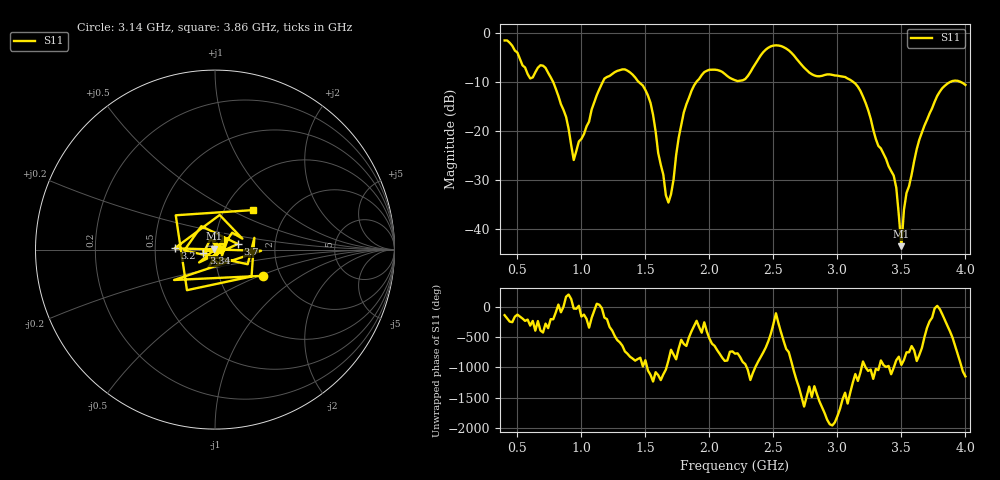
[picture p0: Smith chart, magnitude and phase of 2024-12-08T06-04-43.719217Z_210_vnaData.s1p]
!Created with skrf (http://scikit-rf.org).
# Hz S RI R 50.0
!freq ReS11 ImS11
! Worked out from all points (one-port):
!   181 points, 400 MHz to 4 GHz, reference 50 ohm
!   lowest |S11| = -43.4 dB at 3.5 GHz (marker M1), VSWR 1.01, Z = 49.6 + j0.57 ohm
!   |S11| at or under -10 dB: 779.8 MHz to 1.166 GHz (386.7 MHz wide, 39.7 % of centre); 1.449 GHz to 1.897 GHz (448 MHz wide, 26.8 % of centre); 3.125 GHz to 3.879 GHz (753.9 MHz wide, 21.5 % of centre) (the widest 3 of 4)
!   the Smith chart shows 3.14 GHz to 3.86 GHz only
!   S11 on the Smith chart (normalised r, x): 3.14 GHz: 1.63, -0.52; 3.2 GHz: 0.63, +0.01; 3.34 GHz: 0.88, -0.03; 3.7 GHz: 1.29, +0.08; 3.86 GHz: 1.35, +0.66
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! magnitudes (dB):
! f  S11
! 400 MHz  -1.5
! 600 MHz  -9.3
! 720 MHz  -7.1
! 860 MHz  -15.7
! 940 MHz  -25.9
! 1.18 GHz  -9.3
! 1.3 GHz  -7.6
! 1.52 GHz  -12.7
! 1.68 GHz  -34.5
! 1.72 GHz  -29.9
! 1.76 GHz  -21.3
! 1.86 GHz  -11.8
! 1.96 GHz  -8.0
! 2.2 GHz  -9.6
! 2.48 GHz  -2.7
! 2.66 GHz  -4.6
! 2.82 GHz  -8.7
! 3.1 GHz  -9.5
! 3.14 GHz  -10.3
! 3.2 GHz  -12.9
! 3.34 GHz  -23.5
! 3.46 GHz  -31.5
! 3.5 GHz  -43.4
! 3.52 GHz  -36.0
! 3.56 GHz  -31.2
! 3.7 GHz  -17.7
! 3.86 GHz  -10.3
! 4 GHz  -10.6
